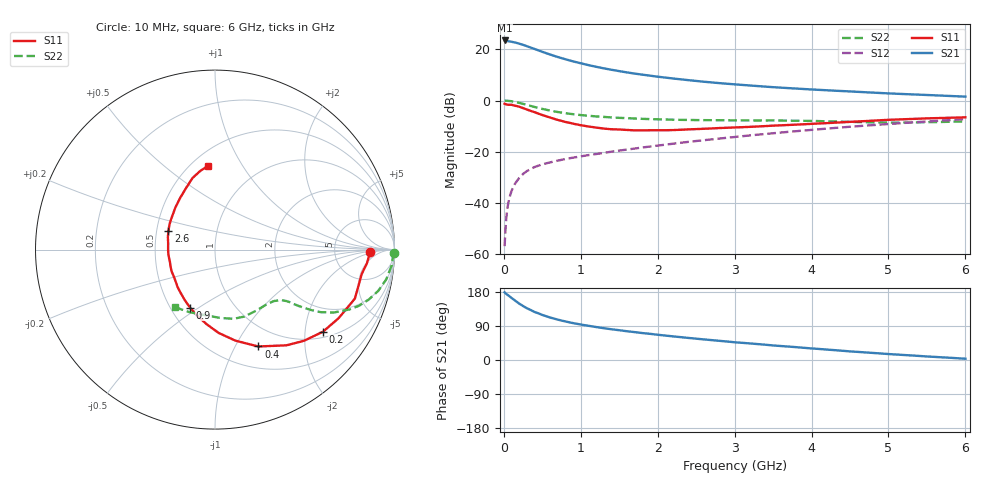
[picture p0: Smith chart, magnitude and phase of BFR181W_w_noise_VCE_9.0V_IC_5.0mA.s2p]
! Infineon Technologies  Discrete & RF Semiconductors
! BFR181W
! VCE =  9.0 V,  IC =  5.0 mA
! Common Emitter S-Parameters:  Jan 2017
# GHz  S  MA  R  50
!  f  S11  S21  S12  S22
! GHz  MAG  ANG  MAG  ANG  MAG  ANG  MAG  ANG
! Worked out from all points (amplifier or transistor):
!   77 points, 10 MHz to 6 GHz, reference 50 ohm
!   highest |S21| = 23.5 dB at 10 MHz (marker M1)
!   |S21| within 3 dB of that: start of sweep to 368.5 MHz
!   unconditionally stable (mu >= 1): 1.374 GHz to 3.422 GHz
!   at 130 MHz: K = 0.17, MSG = 28.1 dB, |S12| = -33.5 dB
!   at 2.2 GHz: K = 1.08, MAG = 11.1 dB, |S12| = -16.9 dB
!   at 6 GHz: K = 0.85, MSG = 4.4 dB, |S12| = -7.3 dB
!   lowest NFmin = 0.97 dB at 450 MHz
!   S11 on the Smith chart (normalised r, x): 10 MHz: 14, -2; 200 MHz: 1.17, -2.49; 400 MHz: 0.75, -1.25; 900 MHz: 0.62, -0.46; 2.6 GHz: 0.58, +0.13; 6 GHz: 0.60, +0.72
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0.01  0.8645 -1.0  15.02 178.6  0.0014 89.6  0.9975 -1.0
0.02  0.8496 -5.2  14.85 176.1  0.0027 88.8  0.9932 -1.7
0.04  0.8351 -8.0  14.66 173.2  0.0065 87.1  0.9899 -3.9
0.1  0.8257 -19.3  14.17 163.7  0.0169 80.3  0.9689 -9.8
0.15  0.7878 -29.0  13.66 156.2  0.0241 74.2  0.9381 -14.2
0.2  0.7559 -37.2  12.98 148.8  0.0304 72.6  0.9008 -18.0
0.25  0.7105 -45.6  12.32 142.4  0.0364 67.6  0.8613 -21.3
0.3  0.6659 -53.2  11.59 136.5  0.0415 64.4  0.82 -24.0
0.4  0.5912 -65.9  10.23 126.7  0.0497 60.7  0.7474 -28.0
0.5  0.5196 -77.4  8.988 118.9  0.0562 57.7  0.685 -30.6
0.6  0.4647 -87.5  7.98 112.2  0.0613 56.6  0.6351 -32.1
0.7  0.417 -96.7  7.122 106.6  0.0663 56.1  0.5953 -33.1
0.9  0.3519 -113.3  5.84 97.4  0.0759 56.1  0.5396 -34.5
1.1  0.3094 -127.8  4.938 90.3  0.0853 56.9  0.5026 -35.3
1.3  0.2816 -141.3  4.263 83.9  0.0941 58.0  0.4769 -36.5
1.6  0.2648 -159.4  3.553 75.9  0.1092 59.5  0.4513 -38.9
2.1  0.2616 176.5  2.812 64.5  0.1366 60.9  0.4242 -44.7
2.6  0.2793 158.3  2.334 54.3  0.1667 61.1  0.4123 -52.4
3.1  0.3002 143.4  2.02 45.3  0.1999 60.1  0.4075 -60.1
4.1  0.3546 121.6  1.616 29.1  0.2737 55.6  0.3948 -77.0
5.1  0.4237 105.8  1.358 14.5  0.3546 48.5  0.3692 -101.1
6  0.4684 94.5  1.192 3.4  0.4313 40.5  0.3913 -125.1
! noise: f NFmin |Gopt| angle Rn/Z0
0.45  0.97  0.33  16  0.23
0.9  1.03  0.3  30  0.23
1.9  1.44  0.15  80  0.2
2.4  1.59  0.13  94  0.22
